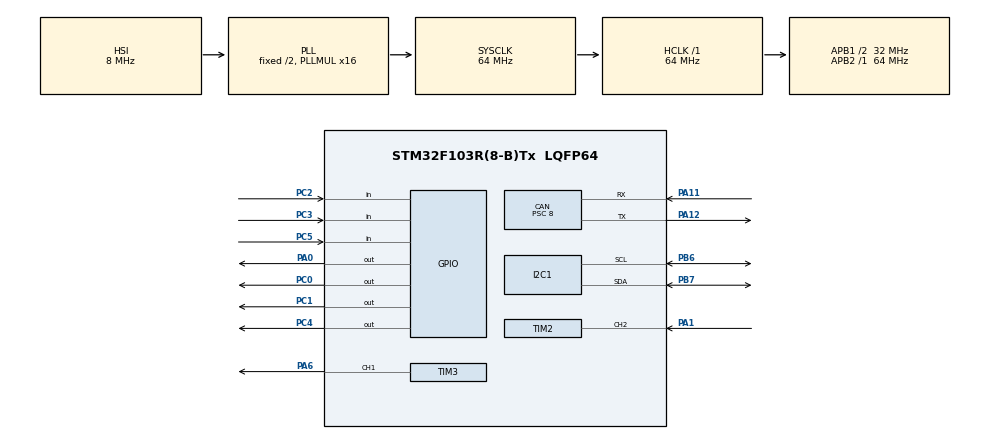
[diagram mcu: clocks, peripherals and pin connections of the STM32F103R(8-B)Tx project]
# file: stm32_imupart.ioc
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CAN.BS1=CAN_BS1_14TQ
CAN.CalculateBaudRate=250000
CAN.CalculateTimeBit=4000
CAN.CalculateTimeQuantum=250.0
CAN.Mode=CAN_MODE_NORMAL
CAN.Prescaler=8
I2C1.I2C_Mode=I2C_Fast
Mcu.Family=STM32F1
Mcu.Name=STM32F103R(8-B)Tx
Mcu.Package=LQFP64
NVIC.PriorityGroup=NVIC_PRIORITYGROUP_4
NVIC.USB_LP_CAN1_RX0_IRQn=true\:0\:0\:false\:false\:true\:true\:true\:true
PA0-WKUP.Signal=GPIO_Output
PA1.Signal=S_TIM2_CH2
PA11.Mode=CAN_Activate
PA11.Signal=CAN_RX
PA12.Mode=CAN_Activate
PA12.Signal=CAN_TX
PA6.Signal=S_TIM3_CH1
PB6.Mode=I2C
PB6.Signal=I2C1_SCL
PB7.Mode=I2C
PB7.Signal=I2C1_SDA
PC0.Signal=GPIO_Output
PC1.Signal=GPIO_Output
PC2.GPIO_PuPd=GPIO_PULLUP
PC2.Signal=GPIO_Input
PC3.GPIO_PuPd=GPIO_PULLUP
PC3.Signal=GPIO_Input
PC4.Signal=GPIO_Output
PC5.GPIO_PuPd=GPIO_PULLUP
PC5.Signal=GPIO_Input
ProjectManager.HeapSize=0x200
ProjectManager.StackSize=0x400
ProjectManager.TargetToolchain=STM32CubeIDE
RCC.AHBFreq_Value=64000000
RCC.APB1CLKDivider=RCC_HCLK_DIV2
RCC.APB1Freq_Value=32000000
RCC.APB1TimFreq_Value=64000000
RCC.APB2Freq_Value=64000000
RCC.APB2TimFreq_Value=64000000
RCC.HCLKFreq_Value=64000000
RCC.PLLMUL=RCC_PLL_MUL16
RCC.RTCClockSelection=RCC_RTCCLKSOURCE_LSE
RCC.SYSCLKFreq_VALUE=64000000
RCC.SYSCLKSource=RCC_SYSCLKSOURCE_PLLCLK
RCC.USBFreq_Value=64000000
SH.S_TIM2_CH2.0=TIM2_CH2,Input_Capture2_from_TI2
SH.S_TIM3_CH1.0=TIM3_CH1,PWM Generation1 CH1
TIM2.Channel-Input_Capture1_from_TI2_63=TIM_CHANNEL_1
TIM2.Channel-Input_Capture2_from_TI2=TIM_CHANNEL_2
TIM2.ICPolarity_CH1=TIM_INPUTCHANNELPOLARITY_FALLING
TIM2.Prescaler=71
TIM3.Channel-PWM\ Generation1\ CH1=TIM_CHANNEL_1
TIM3.Period=19999
TIM3.Prescaler=71
TIM3.Pulse-PWM\ Generation1\ CH1=1500
VP_SYS_VS_ND.Mode=No_Debug
VP_TIM2_VS_indirect_ch2.Mode=Input_Capture1_from_TI2_63
board=NUCLEO-F103RB

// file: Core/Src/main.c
/* USER CODE BEGIN Header */
/**
  ******************************************************************************
  * @file           : main.c
  * @brief          : Main program body
  ******************************************************************************
  * @attention
  *
  * Copyright (c) 2026 STMicroelectronics.
  * All rights reserved.
  *
  * This software is licensed under terms that can be found in the LICENSE file
  * in the root directory of this software component.
  * If no LICENSE file comes with this software, it is provided AS-IS.
  *
  ******************************************************************************
  */
/* USER CODE END Header */
#include "main.h"

CAN_HandleTypeDef hcan;

I2C_HandleTypeDef hi2c1;

TIM_HandleTypeDef htim2;
TIM_HandleTypeDef htim3;

/* USER CODE BEGIN PV */
CAN_TxHeaderTypeDef TxHeader;
uint8_t TxData[8];
uint32_t TxMailbox;
HAL_StatusTypeDef i2c_status;
uint8_t bno_seq_ctrl = 0;   // 채널2 시퀀스 번호
uint8_t bno_rxbuf[32];
/* USER CODE END PV */

void SystemClock_Config(void);
static void MX_GPIO_Init(void);
static void MX_CAN_Init(void);
static void MX_I2C1_Init(void);
static void MX_TIM2_Init(void);
static void MX_TIM3_Init(void);

/* USER CODE BEGIN 0 */
#define BNO085_ADDR (0x4A << 1)

// SHTP 패킷 하나 읽기 (헤더 4바이트 먼저 읽고, 길이만큼 이어서 읽기)
static uint16_t BNO_ReadPacket(uint8_t *buf, uint16_t maxlen)
{
  uint8_t header[4];
  if (HAL_I2C_Master_Receive(&hi2c1, BNO085_ADDR, header, 4, 50) != HAL_OK)
    return 0;

  uint16_t len = ((header[1] & 0x7F) << 8) | header[0];
  if (len == 0 || len > maxlen) return 0;

  // 헤더 포함해서 전체 다시 읽기 (STM32 I2C는 재요청 필요)
  if (HAL_I2C_Master_Receive(&hi2c1, BNO085_ADDR, buf, len, 50) != HAL_OK)
    return 0;

  return len;  // buf[0..3]=헤더, buf[4..]=payload
}

// Rotation Vector 리포트 켜기 (채널2, Set Feature Command 0xFD)
static void BNO_EnableRotationVector(void)
{
  uint8_t pkt[21] = {0};
  uint16_t len = 21;

  pkt[0] = len & 0xFF;
  pkt[1] = (len >> 8) & 0x7F;
  pkt[2] = 2;              // channel 2 = control
  pkt[3] = bno_seq_ctrl++;

  pkt[4] = 0xFD;            // Set Feature Command
  pkt[5] = 0x05;            // Report ID: Rotation Vector
  pkt[6] = 0;                // flags
  pkt[7] = 0; pkt[8] = 0;    // change sensitivity
  // report interval 20000us = 50Hz, little-endian 4바이트
  pkt[9]  = 0x20; pkt[10] = 0x4E; pkt[11] = 0x00; pkt[12] = 0x00;
  // batch interval, sensor-specific config = 0

  HAL_I2C_Master_Transmit(&hi2c1, BNO085_ADDR, pkt, len, 100);
}
/* USER CODE END 0 */

int main(void)
{

  /* MCU Configuration--------------------------------------------------------*/

  /* Reset of all peripherals, Initializes the Flash interface and the Systick. */
  HAL_Init();

  /* Configure the system clock */
  SystemClock_Config();

  /* Initialize all configured peripherals */
  MX_GPIO_Init();
  MX_CAN_Init();
  MX_I2C1_Init();
  MX_TIM2_Init();
  MX_TIM3_Init();
  /* USER CODE BEGIN 2 */
  CAN_FilterTypeDef sFilterConfig;
  sFilterConfig.FilterBank = 0;
  sFilterConfig.FilterMode = CAN_FILTERMODE_IDMASK;
  sFilterConfig.FilterScale = CAN_FILTERSCALE_32BIT;
  sFilterConfig.FilterIdHigh = 0x0000;
  sFilterConfig.FilterIdLow = 0x0000;
  sFilterConfig.FilterMaskIdHigh = 0x0000;
  sFilterConfig.FilterMaskIdLow = 0x0000;
  sFilterConfig.FilterFIFOAssignment = CAN_RX_FIFO0;
  sFilterConfig.FilterActivation = ENABLE;

  if (HAL_CAN_ConfigFilter(&hcan, &sFilterConfig) != HAL_OK)
  {
    Error_Handler();
  }

  if (HAL_CAN_Start(&hcan) != HAL_OK)
  {
    Error_Handler();
  }

  TxHeader.StdId = 0x101;
  TxHeader.ExtId = 0x01;
  TxHeader.RTR = CAN_RTR_DATA;
  TxHeader.IDE = CAN_ID_STD;
  TxHeader.DLC = 1;
  TxHeader.TransmitGlobalTime = DISABLE;

  // BNO085 응답 확인
  //uint8_t bno_addr = 0x4A << 1;
  //i2c_status = HAL_I2C_IsDeviceReady(&hi2c1, bno_addr, 3, 100);

  HAL_Delay(200);

  // 부팅 시 자동으로 오는 Advertisement 패킷들 비우기
  //uint8_t dump[64];
  //for (int i = 0; i < 3; i++)
  //{
  //  BNO_ReadPacket(dump, sizeof(dump));
  //  HAL_Delay(10);
  //}

  //BNO_EnableRotationVector();
  //HAL_Delay(50);
  /* USER CODE BEGIN WHILE */
  while (1)
  {
	  HAL_GPIO_TogglePin(GPIOA, GPIO_PIN_0);   // 온보드 LED (Nucleo F103RB는 보통 PA5, 여기 배선은 PA0로 잡혀있음)
	  HAL_Delay(500);

    /* USER CODE END WHILE */

  }
}

void SystemClock_Config(void)
{
  RCC_OscInitTypeDef RCC_OscInitStruct = {0};
  RCC_ClkInitTypeDef RCC_ClkInitStruct = {0};

  /** Initializes the RCC Oscillators according to the specified parameters
  * in the RCC_OscInitTypeDef structure.
  */
  RCC_OscInitStruct.OscillatorType = RCC_OSCILLATORTYPE_HSI;
  RCC_OscInitStruct.HSIState = RCC_HSI_ON;
  RCC_OscInitStruct.HSICalibrationValue = RCC_HSICALIBRATION_DEFAULT;
  RCC_OscInitStruct.PLL.PLLState = RCC_PLL_ON;
  RCC_OscInitStruct.PLL.PLLSource = RCC_PLLSOURCE_HSI_DIV2;
  RCC_OscInitStruct.PLL.PLLMUL = RCC_PLL_MUL16;
  if (HAL_RCC_OscConfig(&RCC_OscInitStruct) != HAL_OK)
  {
    Error_Handler();
  }

  /** Initializes the CPU, AHB and APB buses clocks
  */
  RCC_ClkInitStruct.ClockType = RCC_CLOCKTYPE_HCLK|RCC_CLOCKTYPE_SYSCLK
                              |RCC_CLOCKTYPE_PCLK1|RCC_CLOCKTYPE_PCLK2;
  RCC_ClkInitStruct.SYSCLKSource = RCC_SYSCLKSOURCE_PLLCLK;
  RCC_ClkInitStruct.AHBCLKDivider = RCC_SYSCLK_DIV1;
  RCC_ClkInitStruct.APB1CLKDivider = RCC_HCLK_DIV2;
  RCC_ClkInitStruct.APB2CLKDivider = RCC_HCLK_DIV1;

  if (HAL_RCC_ClockConfig(&RCC_ClkInitStruct, FLASH_LATENCY_2) != HAL_OK)
  {
    Error_Handler();
  }
}

static void MX_CAN_Init(void)
{

  hcan.Instance = CAN1;
  hcan.Init.Prescaler = 8;
  hcan.Init.Mode = CAN_MODE_NORMAL;
  hcan.Init.SyncJumpWidth = CAN_SJW_1TQ;
  hcan.Init.TimeSeg1 = CAN_BS1_14TQ;
  hcan.Init.TimeSeg2 = CAN_BS2_1TQ;
  hcan.Init.TimeTriggeredMode = DISABLE;
  hcan.Init.AutoBusOff = DISABLE;
  hcan.Init.AutoWakeUp = DISABLE;
  hcan.Init.AutoRetransmission = DISABLE;
  hcan.Init.ReceiveFifoLocked = DISABLE;
  hcan.Init.TransmitFifoPriority = DISABLE;
  if (HAL_CAN_Init(&hcan) != HAL_OK)
  {
    Error_Handler();
  }

}

static void MX_I2C1_Init(void)
{

  hi2c1.Instance = I2C1;
  hi2c1.Init.ClockSpeed = 400000;
  hi2c1.Init.DutyCycle = I2C_DUTYCYCLE_2;
  hi2c1.Init.OwnAddress1 = 0;
  hi2c1.Init.AddressingMode = I2C_ADDRESSINGMODE_7BIT;
  hi2c1.Init.DualAddressMode = I2C_DUALADDRESS_DISABLE;
  hi2c1.Init.OwnAddress2 = 0;
  hi2c1.Init.GeneralCallMode = I2C_GENERALCALL_DISABLE;
  hi2c1.Init.NoStretchMode = I2C_NOSTRETCH_DISABLE;
  if (HAL_I2C_Init(&hi2c1) != HAL_OK)
  {
    Error_Handler();
  }

}

static void MX_TIM2_Init(void)
{

  TIM_MasterConfigTypeDef sMasterConfig = {0};
  TIM_IC_InitTypeDef sConfigIC = {0};

  htim2.Instance = TIM2;
  htim2.Init.Prescaler = 71;
  htim2.Init.CounterMode = TIM_COUNTERMODE_UP;
  htim2.Init.Period = 65535;
  htim2.Init.ClockDivision = TIM_CLOCKDIVISION_DIV1;
  htim2.Init.AutoReloadPreload = TIM_AUTORELOAD_PRELOAD_DISABLE;
  if (HAL_TIM_IC_Init(&htim2) != HAL_OK)
  {
    Error_Handler();
  }
  sMasterConfig.MasterOutputTrigger = TIM_TRGO_RESET;
  sMasterConfig.MasterSlaveMode = TIM_MASTERSLAVEMODE_DISABLE;
  if (HAL_TIMEx_MasterConfigSynchronization(&htim2, &sMasterConfig) != HAL_OK)
  {
    Error_Handler();
  }
  sConfigIC.ICPolarity = TIM_INPUTCHANNELPOLARITY_FALLING;
  sConfigIC.ICSelection = TIM_ICSELECTION_INDIRECTTI;
  sConfigIC.ICPrescaler = TIM_ICPSC_DIV1;
  sConfigIC.ICFilter = 0;
  if (HAL_TIM_IC_ConfigChannel(&htim2, &sConfigIC, TIM_CHANNEL_1) != HAL_OK)
  {
    Error_Handler();
  }
  sConfigIC.ICPolarity = TIM_INPUTCHANNELPOLARITY_RISING;
  sConfigIC.ICSelection = TIM_ICSELECTION_DIRECTTI;
  if (HAL_TIM_IC_ConfigChannel(&htim2, &sConfigIC, TIM_CHANNEL_2) != HAL_OK)
  {
    Error_Handler();
  }

}

static void MX_TIM3_Init(void)
{

  TIM_MasterConfigTypeDef sMasterConfig = {0};
  TIM_OC_InitTypeDef sConfigOC = {0};

  htim3.Instance = TIM3;
  htim3.Init.Prescaler = 71;
  htim3.Init.CounterMode = TIM_COUNTERMODE_UP;
  htim3.Init.Period = 19999;
  htim3.Init.ClockDivision = TIM_CLOCKDIVISION_DIV1;
  htim3.Init.AutoReloadPreload = TIM_AUTORELOAD_PRELOAD_DISABLE;
  if (HAL_TIM_PWM_Init(&htim3) != HAL_OK)
  {
    Error_Handler();
  }
  sMasterConfig.MasterOutputTrigger = TIM_TRGO_RESET;
  sMasterConfig.MasterSlaveMode = TIM_MASTERSLAVEMODE_DISABLE;
  if (HAL_TIMEx_MasterConfigSynchronization(&htim3, &sMasterConfig) != HAL_OK)
  {
    Error_Handler();
  }
  sConfigOC.OCMode = TIM_OCMODE_PWM1;
  sConfigOC.Pulse = 1500;
  sConfigOC.OCPolarity = TIM_OCPOLARITY_HIGH;
  sConfigOC.OCFastMode = TIM_OCFAST_DISABLE;
  if (HAL_TIM_PWM_ConfigChannel(&htim3, &sConfigOC, TIM_CHANNEL_1) != HAL_OK)
  {
    Error_Handler();
  }
  HAL_TIM_MspPostInit(&htim3);

}

static void MX_GPIO_Init(void)
{
  GPIO_InitTypeDef GPIO_InitStruct = {0};

  /* GPIO Ports Clock Enable */
  __HAL_RCC_GPIOC_CLK_ENABLE();
  __HAL_RCC_GPIOA_CLK_ENABLE();
  __HAL_RCC_GPIOB_CLK_ENABLE();

  /*Configure GPIO pin Output Level */
  HAL_GPIO_WritePin(GPIOC, GPIO_PIN_0|GPIO_PIN_1|GPIO_PIN_4, GPIO_PIN_RESET);

  /*Configure GPIO pin Output Level */
  HAL_GPIO_WritePin(GPIOA, GPIO_PIN_0, GPIO_PIN_RESET);

  /*Configure GPIO pins : PC0 PC1 PC4 */
  GPIO_InitStruct.Pin = GPIO_PIN_0|GPIO_PIN_1|GPIO_PIN_4;
  GPIO_InitStruct.Mode = GPIO_MODE_OUTPUT_PP;
  GPIO_InitStruct.Pull = GPIO_NOPULL;
  GPIO_InitStruct.Speed = GPIO_SPEED_FREQ_LOW;
  HAL_GPIO_Init(GPIOC, &GPIO_InitStruct);

  /*Configure GPIO pins : PC2 PC3 PC5 */
  GPIO_InitStruct.Pin = GPIO_PIN_2|GPIO_PIN_3|GPIO_PIN_5;
  GPIO_InitStruct.Mode = GPIO_MODE_INPUT;
  GPIO_InitStruct.Pull = GPIO_PULLUP;
  HAL_GPIO_Init(GPIOC, &GPIO_InitStruct);

  /*Configure GPIO pin : PA0 */
  GPIO_InitStruct.Pin = GPIO_PIN_0;
  GPIO_InitStruct.Mode = GPIO_MODE_OUTPUT_PP;
  GPIO_InitStruct.Pull = GPIO_NOPULL;
  GPIO_InitStruct.Speed = GPIO_SPEED_FREQ_LOW;
  HAL_GPIO_Init(GPIOA, &GPIO_InitStruct);

}

void Error_Handler(void)
{
  /* USER CODE BEGIN Error_Handler_Debug */
  __disable_irq();
  while (1)
  {
      HAL_GPIO_TogglePin(GPIOC, GPIO_PIN_0);
      for(volatile int i=0; i<1000000; i++);
  }
  /* USER CODE END Error_Handler_Debug */
}
